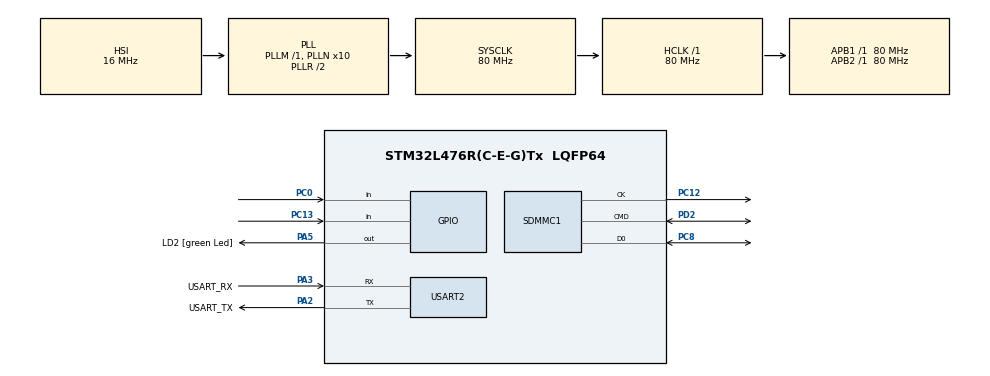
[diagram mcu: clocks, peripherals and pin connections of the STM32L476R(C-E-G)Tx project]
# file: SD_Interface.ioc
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Dma.Request0=USART2_RX
Dma.Request1=USART2_TX
Dma.Request2=SDMMC1
Dma.SDMMC1.2.Direction=DMA_PERIPH_TO_MEMORY
Dma.SDMMC1.2.Instance=DMA2_Channel4
Dma.SDMMC1.2.MemDataAlignment=DMA_MDATAALIGN_WORD
Dma.SDMMC1.2.MemInc=DMA_MINC_ENABLE
Dma.SDMMC1.2.Mode=DMA_NORMAL
Dma.SDMMC1.2.PeriphDataAlignment=DMA_PDATAALIGN_WORD
Dma.SDMMC1.2.PeriphInc=DMA_PINC_DISABLE
Dma.SDMMC1.2.Priority=DMA_PRIORITY_LOW
Dma.USART2_RX.0.Direction=DMA_PERIPH_TO_MEMORY
Dma.USART2_RX.0.Instance=DMA1_Channel6
Dma.USART2_RX.0.MemDataAlignment=DMA_MDATAALIGN_BYTE
Dma.USART2_RX.0.MemInc=DMA_MINC_ENABLE
Dma.USART2_RX.0.Mode=DMA_NORMAL
Dma.USART2_RX.0.PeriphDataAlignment=DMA_PDATAALIGN_BYTE
Dma.USART2_RX.0.PeriphInc=DMA_PINC_DISABLE
Dma.USART2_RX.0.Priority=DMA_PRIORITY_LOW
Dma.USART2_TX.1.Direction=DMA_MEMORY_TO_PERIPH
Dma.USART2_TX.1.Instance=DMA1_Channel7
Dma.USART2_TX.1.MemDataAlignment=DMA_MDATAALIGN_BYTE
Dma.USART2_TX.1.MemInc=DMA_MINC_ENABLE
Dma.USART2_TX.1.Mode=DMA_NORMAL
Dma.USART2_TX.1.PeriphDataAlignment=DMA_PDATAALIGN_BYTE
Dma.USART2_TX.1.PeriphInc=DMA_PINC_DISABLE
Dma.USART2_TX.1.Priority=DMA_PRIORITY_LOW
FATFS.BSP.number=1
FATFS.USE_DMA_CODE_SD=1
FATFS0.BSP.STBoard=false
FATFS0.BSP.api=Unknown
FATFS0.BSP.i2caddr=0
FATFS0.BSP.instance=PC13
FATFS0.BSP.ip=GPIO
FATFS0.BSP.mode=Input
FATFS0.BSP.name=Detect_SDIO
FATFS0.BSP.solution=PC13
Mcu.Family=STM32L4
Mcu.Name=STM32L476R(C-E-G)Tx
Mcu.Package=LQFP64
NVIC.DMA1_Channel6_IRQn=true\:0\:0\:false\:false\:true\:false\:true\:true
NVIC.DMA1_Channel7_IRQn=true\:0\:0\:false\:false\:true\:false\:true\:true
NVIC.DMA2_Channel4_IRQn=true\:0\:0\:false\:false\:true\:false\:true\:true
NVIC.PriorityGroup=NVIC_PRIORITYGROUP_4
NVIC.SDMMC1_IRQn=true\:0\:0\:false\:false\:true\:true\:true\:true
PA13\ (JTMS-SWDIO).GPIO_Label=TMS
PA13\ (JTMS-SWDIO).Mode=Serial_Wire
PA13\ (JTMS-SWDIO).Signal=SYS_JTMS-SWDIO
PA14\ (JTCK-SWCLK).GPIO_Label=TCK
PA14\ (JTCK-SWCLK).Mode=Serial_Wire
PA14\ (JTCK-SWCLK).Signal=SYS_JTCK-SWCLK
PA2.GPIO_Label=USART_TX
PA2.GPIO_Mode=GPIO_MODE_AF_PP
PA2.GPIO_PuPd=GPIO_NOPULL
PA2.GPIO_Speed=GPIO_SPEED_FREQ_VERY_HIGH
PA2.Mode=Asynchronous
PA2.Signal=USART2_TX
PA3.GPIO_Label=USART_RX
PA3.GPIO_Mode=GPIO_MODE_AF_PP
PA3.GPIO_PuPd=GPIO_NOPULL
PA3.GPIO_Speed=GPIO_SPEED_FREQ_VERY_HIGH
PA3.Mode=Asynchronous
PA3.Signal=USART2_RX
PA5.GPIO_Label=LD2 [green Led]
PA5.GPIO_ModeDefaultOutputPP=GPIO_MODE_OUTPUT_PP
PA5.GPIO_PuPd=GPIO_NOPULL
PA5.GPIO_Speed=GPIO_SPEED_FREQ_LOW
PA5.Signal=GPIO_Output
PB3\ (JTDO-TRACESWO).GPIO_Label=SWO
PB3\ (JTDO-TRACESWO).Signal=SYS_JTDO-SWO
PC0.Signal=GPIO_Input
PC12.Mode=SD_1_bit
PC12.Signal=SDMMC1_CK
PC13.GPIO_PuPd=GPIO_PULLUP
PC13.Signal=GPIO_Input
PC14-OSC32_IN\ (PC14).Mode=LSE-External-Oscillator
PC14-OSC32_IN\ (PC14).Signal=RCC_OSC32_IN
PC15-OSC32_OUT\ (PC15).Mode=LSE-External-Oscillator
PC15-OSC32_OUT\ (PC15).Signal=RCC_OSC32_OUT
PC8.GPIO_PuPd=GPIO_NOPULL
PC8.Mode=SD_1_bit
PC8.Signal=SDMMC1_D0
PD2.GPIO_PuPd=GPIO_NOPULL
PD2.Mode=SD_1_bit
PD2.Signal=SDMMC1_CMD
PH0-OSC_IN\ (PH0).Signal=RCC_OSC_IN
PH1-OSC_OUT\ (PH1).Signal=RCC_OSC_OUT
ProjectManager.HeapSize=0x400
ProjectManager.StackSize=0x800
ProjectManager.TargetToolchain=STM32CubeIDE
RCC.ADCFreq_Value=96000000
RCC.AHBFreq_Value=80000000
RCC.APB1Freq_Value=80000000
RCC.APB1TimFreq_Value=80000000
RCC.APB2Freq_Value=80000000
RCC.APB2TimFreq_Value=80000000
RCC.CortexFreq_Value=80000000
RCC.HCLKFreq_Value=80000000
RCC.HSE_VALUE=8000000
RCC.HSI_VALUE=16000000
RCC.MSI_VALUE=4000000
RCC.PLLN=10
RCC.PLLSAI1N=12
RCC.PLLSAI1Q=RCC_PLLQ_DIV4
RCC.PLLSourceVirtual=RCC_PLLSOURCE_HSI
RCC.PREFETCH_ENABLE=1
RCC.SYSCLKFreq_VALUE=80000000
RCC.SYSCLKSource=RCC_SYSCLKSOURCE_PLLCLK
RCC.USBFreq_Value=48000000
RCC.VCOOutputFreq_Value=160000000
SDMMC1.ClockDiv=100
USART2.VirtualMode-Asynchronous=VM_ASYNC
VP_FATFS_VS_SDIO.Mode=SDIO
board=NUCLEO-L476RG

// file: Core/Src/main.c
/* USER CODE BEGIN Header */
/**
  ******************************************************************************
  * @file           : main.c
  * @brief          : Main program body
  ******************************************************************************
  * @attention
  *
  * <h2><center>&copy; Copyright (c) 2022 STMicroelectronics.
  * All rights reserved.</center></h2>
  *
  * This software component is licensed by ST under Ultimate Liberty license
  * SLA0044, the "License"; You may not use this file except in compliance with
  * the License. You may obtain a copy of the License at:
  *                             www.st.com/SLA0044
  *
  ******************************************************************************
  */
/* USER CODE END Header */
#include "main.h"
#include "fatfs.h"

/* USER CODE BEGIN Includes */
#include <stdarg.h>
#include "stdio.h"
#include "string.h"
/* USER CODE END Includes */

 SD_HandleTypeDef hsd1;
//DMA_HandleTypeDef hdma_sdmmc1;

UART_HandleTypeDef huart2;
DMA_HandleTypeDef hdma_usart2_rx;
DMA_HandleTypeDef hdma_usart2_tx;

void SystemClock_Config(void);
static void MX_GPIO_Init(void);
static void MX_DMA_Init(void);
static void MX_SDMMC1_SD_Init(void);
static void MX_USART2_UART_Init(void);
/* USER CODE BEGIN PFP */
void printmsg(char *format,...);
/* USER CODE END PFP */

/* USER CODE BEGIN 0 */
FATFS SDFatFs = {0};
FIL myFile;
/* USER CODE END 0 */

int main(void)
{
  /* USER CODE BEGIN 1 */
	FRESULT res; /* FatFs function common result code */
	uint32_t byteswritten, bytesread; /* File write/read counts */
	uint8_t wtext[] = "STM32 FATFS works great!"; /* File write buffer */
	uint8_t rtext[_MAX_SS];/* File read buffer */
	uint8_t errorCode = 0;
	char myPath[] = "STM32.TXT\0";

	//
	uint8_t status;

  /* USER CODE END 1 */

  /* MCU Configuration--------------------------------------------------------*/

  /* Reset of all peripherals, Initializes the Flash interface and the Systick. */
  HAL_Init();

  /* Configure the system clock */
  SystemClock_Config();

  /* Initialize all configured peripherals */
  MX_GPIO_Init();
  MX_DMA_Init();
  MX_SDMMC1_SD_Init();
  MX_USART2_UART_Init();
  MX_FATFS_Init();
  /* USER CODE BEGIN 2 */

  printmsg("SD Test Program Started! \r\n");

  if(f_mount(&SDFatFs, (TCHAR const*)SDPath, 0) != FR_OK)
  {
	  printmsg("Issue with mounting \r\n");
	  errorCode = 1;
  }
  else
  {

	  	  status = f_open(&myFile, myPath, FA_WRITE | FA_CREATE_ALWAYS);
          //Open file for writing (Create)
          if( status != FR_OK)
          {
              printmsg(" Unable to open file \r\n");
              printmsg("Error Code: %d \r\n", status);
          }
          else
          {
              //Write to the text file
              res = f_write(&myFile, wtext, strlen((char *)wtext), (void *)&byteswritten);
              if((byteswritten == 0) || (res != FR_OK))
              {
            	  printmsg(" Unable to write to file \r\n");
            	  errorCode = 4;
              }
              else
              {
            	  printmsg("Write successful? \r\n");
                  f_close(&myFile);
              }
          }
  }
  f_mount(&SDFatFS, (TCHAR const*)NULL, 0);
  /* USER CODE END 2 */

  /* Infinite loop */
  while (1)
  {

  }
}

void SystemClock_Config(void)
{
  RCC_OscInitTypeDef RCC_OscInitStruct = {0};
  RCC_ClkInitTypeDef RCC_ClkInitStruct = {0};

  /** Configure the main internal regulator output voltage
  */
  if (HAL_PWREx_ControlVoltageScaling(PWR_REGULATOR_VOLTAGE_SCALE1) != HAL_OK)
  {
    Error_Handler();
  }

  /** Initializes the RCC Oscillators according to the specified parameters
  * in the RCC_OscInitTypeDef structure.
  */
  RCC_OscInitStruct.OscillatorType = RCC_OSCILLATORTYPE_HSI;
  RCC_OscInitStruct.HSIState = RCC_HSI_ON;
  RCC_OscInitStruct.HSICalibrationValue = RCC_HSICALIBRATION_DEFAULT;
  RCC_OscInitStruct.PLL.PLLState = RCC_PLL_ON;
  RCC_OscInitStruct.PLL.PLLSource = RCC_PLLSOURCE_HSI;
  RCC_OscInitStruct.PLL.PLLM = 1;
  RCC_OscInitStruct.PLL.PLLN = 10;
  RCC_OscInitStruct.PLL.PLLP = RCC_PLLP_DIV7;
  RCC_OscInitStruct.PLL.PLLQ = RCC_PLLQ_DIV2;
  RCC_OscInitStruct.PLL.PLLR = RCC_PLLR_DIV2;
  if (HAL_RCC_OscConfig(&RCC_OscInitStruct) != HAL_OK)
  {
    Error_Handler();
  }

  /** Initializes the CPU, AHB and APB buses clocks
  */
  RCC_ClkInitStruct.ClockType = RCC_CLOCKTYPE_HCLK|RCC_CLOCKTYPE_SYSCLK
                              |RCC_CLOCKTYPE_PCLK1|RCC_CLOCKTYPE_PCLK2;
  RCC_ClkInitStruct.SYSCLKSource = RCC_SYSCLKSOURCE_PLLCLK;
  RCC_ClkInitStruct.AHBCLKDivider = RCC_SYSCLK_DIV1;
  RCC_ClkInitStruct.APB1CLKDivider = RCC_HCLK_DIV1;
  RCC_ClkInitStruct.APB2CLKDivider = RCC_HCLK_DIV1;

  if (HAL_RCC_ClockConfig(&RCC_ClkInitStruct, FLASH_LATENCY_4) != HAL_OK)
  {
    Error_Handler();
  }
}

static void MX_SDMMC1_SD_Init(void)
{

  hsd1.Instance = SDMMC1;
  hsd1.Init.ClockEdge = SDMMC_CLOCK_EDGE_RISING;
  hsd1.Init.ClockBypass = SDMMC_CLOCK_BYPASS_DISABLE;
  hsd1.Init.ClockPowerSave = SDMMC_CLOCK_POWER_SAVE_DISABLE;
  hsd1.Init.BusWide = SDMMC_BUS_WIDE_1B;
  hsd1.Init.HardwareFlowControl = SDMMC_HARDWARE_FLOW_CONTROL_DISABLE;
  hsd1.Init.ClockDiv = 100;

}

static void MX_USART2_UART_Init(void)
{

  huart2.Instance = USART2;
  huart2.Init.BaudRate = 115200;
  huart2.Init.WordLength = UART_WORDLENGTH_8B;
  huart2.Init.StopBits = UART_STOPBITS_1;
  huart2.Init.Parity = UART_PARITY_NONE;
  huart2.Init.Mode = UART_MODE_TX_RX;
  huart2.Init.HwFlowCtl = UART_HWCONTROL_NONE;
  huart2.Init.OverSampling = UART_OVERSAMPLING_16;
  huart2.Init.OneBitSampling = UART_ONE_BIT_SAMPLE_DISABLE;
  huart2.AdvancedInit.AdvFeatureInit = UART_ADVFEATURE_NO_INIT;
  if (HAL_UART_Init(&huart2) != HAL_OK)
  {
    Error_Handler();
  }

}

static void MX_DMA_Init(void)
{

  /* DMA controller clock enable */
  __HAL_RCC_DMA1_CLK_ENABLE();
  __HAL_RCC_DMA2_CLK_ENABLE();

  /* DMA interrupt init */
  /* DMA1_Channel6_IRQn interrupt configuration */
  HAL_NVIC_SetPriority(DMA1_Channel6_IRQn, 0, 0);
  HAL_NVIC_EnableIRQ(DMA1_Channel6_IRQn);
  /* DMA1_Channel7_IRQn interrupt configuration */
  HAL_NVIC_SetPriority(DMA1_Channel7_IRQn, 0, 0);
  HAL_NVIC_EnableIRQ(DMA1_Channel7_IRQn);
  /* DMA2_Channel4_IRQn interrupt configuration */
  HAL_NVIC_SetPriority(DMA2_Channel4_IRQn, 0, 0);
  HAL_NVIC_EnableIRQ(DMA2_Channel4_IRQn);

}

static void MX_GPIO_Init(void)
{
  GPIO_InitTypeDef GPIO_InitStruct = {0};

  /* GPIO Ports Clock Enable */
  __HAL_RCC_GPIOC_CLK_ENABLE();
  __HAL_RCC_GPIOH_CLK_ENABLE();
  __HAL_RCC_GPIOA_CLK_ENABLE();
  __HAL_RCC_GPIOD_CLK_ENABLE();
  __HAL_RCC_GPIOB_CLK_ENABLE();

  /*Configure GPIO pin Output Level */
  HAL_GPIO_WritePin(LD2_GPIO_Port, LD2_Pin, GPIO_PIN_RESET);

  /*Configure GPIO pin : PC13 */
  GPIO_InitStruct.Pin = GPIO_PIN_13;
  GPIO_InitStruct.Mode = GPIO_MODE_INPUT;
  GPIO_InitStruct.Pull = GPIO_PULLUP;
  HAL_GPIO_Init(GPIOC, &GPIO_InitStruct);

  /*Configure GPIO pin : PC0 */
  GPIO_InitStruct.Pin = GPIO_PIN_0;
  GPIO_InitStruct.Mode = GPIO_MODE_INPUT;
  GPIO_InitStruct.Pull = GPIO_NOPULL;
  HAL_GPIO_Init(GPIOC, &GPIO_InitStruct);

  /*Configure GPIO pin : LD2_Pin */
  GPIO_InitStruct.Pin = LD2_Pin;
  GPIO_InitStruct.Mode = GPIO_MODE_OUTPUT_PP;
  GPIO_InitStruct.Pull = GPIO_NOPULL;
  GPIO_InitStruct.Speed = GPIO_SPEED_FREQ_LOW;
  HAL_GPIO_Init(LD2_GPIO_Port, &GPIO_InitStruct);

}

/* USER CODE BEGIN 4 */
void printmsg(char *format,...) {
    char str[80];

    /*Extract the the argument list using VA apis */
    va_list args;
    va_start(args, format);
    vsprintf(str, format,args);
    HAL_UART_Transmit(&huart2,(uint8_t *)str, strlen(str),HAL_MAX_DELAY);
    va_end(args);
}
/* USER CODE END 4 */

void Error_Handler(void)
{
  /* USER CODE BEGIN Error_Handler_Debug */
  /* User can add his own implementation to report the HAL error return state */
	for (int i = 0; i <= 10; i++)
	{
		HAL_GPIO_TogglePin (GPIOA, GPIO_PIN_5);
		HAL_Delay(1000);
		HAL_GPIO_TogglePin (GPIOA, GPIO_PIN_5);
		//printmsg("Error with the STM32-SD Interface /r/n");

	}
  /* USER CODE END Error_Handler_Debug */
}
